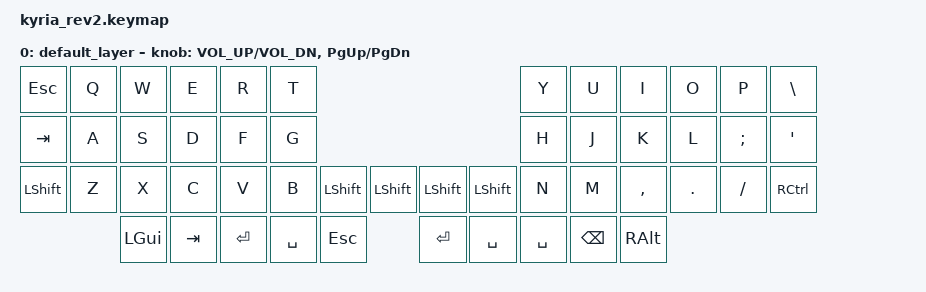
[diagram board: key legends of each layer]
/*
 * Copyright (c) 2020 The ZMK Contributors
 *
 * SPDX-License-Identifier: MIT
 */

#include <behaviors.dtsi>
#include <dt-bindings/zmk/keys.h>
#include <dt-bindings/zmk/bt.h>
#include <dt-bindings/zmk/rgb.h>
#include <dt-bindings/zmk/ext_power.h>
#include <dt-bindings/zmk/outputs.h>

/ {
	keymap {
		compatible = "zmk,keymap";

		default_layer {
// ---------------------------------------------------------------------------------------------------------------------------------
// |  ESC  |  Q  |  W  |  E   |  R   |  T   |                                          |  Y   |  U    |  I    |  O   |   P   |   \  |
// |  TAB  |  A  |  S  |  D   |  F   |  G   |                                          |  H   |  J    |  K    |  L   |   ;   |   '  |
// | SHIFT |  Z  |  X  |  C   |  V   |  B   | L SHIFT | L SHIFT |  | L SHIFT | L SHIFT |  N   |  M    |  ,    |  .   |   /   | CTRL |
//                     | GUI  | TAB  | RET  |  SPACE  |   ESC   |  |   RET   |  SPACE  | SPACE  | BSPC  | R-ALT |
			bindings = <
	&kp ESC   &kp Q &kp W &kp E &kp R &kp T                                                &kp Y &kp U  &kp I     &kp O   &kp P    &kp BSLH
	&kp TAB   &kp A &kp S &kp D &kp F &kp G                                                &kp H &kp J  &kp K     &kp L   &kp SEMI &kp SQT
	&kp LSHFT &kp Z &kp X &kp C &kp V &kp B &kp LSHFT &kp LSHFT        &kp LSHFT &kp LSHFT &kp N &kp 	M  &kp COMMA &kp DOT &kp FSLH &kp RCTRL
	                 &kp LGUI &kp TAB &kp RET &kp SPACE &kp ESC        &kp RET  &kp SPACE  &kp SPACE &kp BSPC &kp RALT
			>;

			sensor-bindings = <&inc_dec_kp C_VOL_UP C_VOL_DN &inc_dec_kp PG_UP PG_DN>;
		};
	};
};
